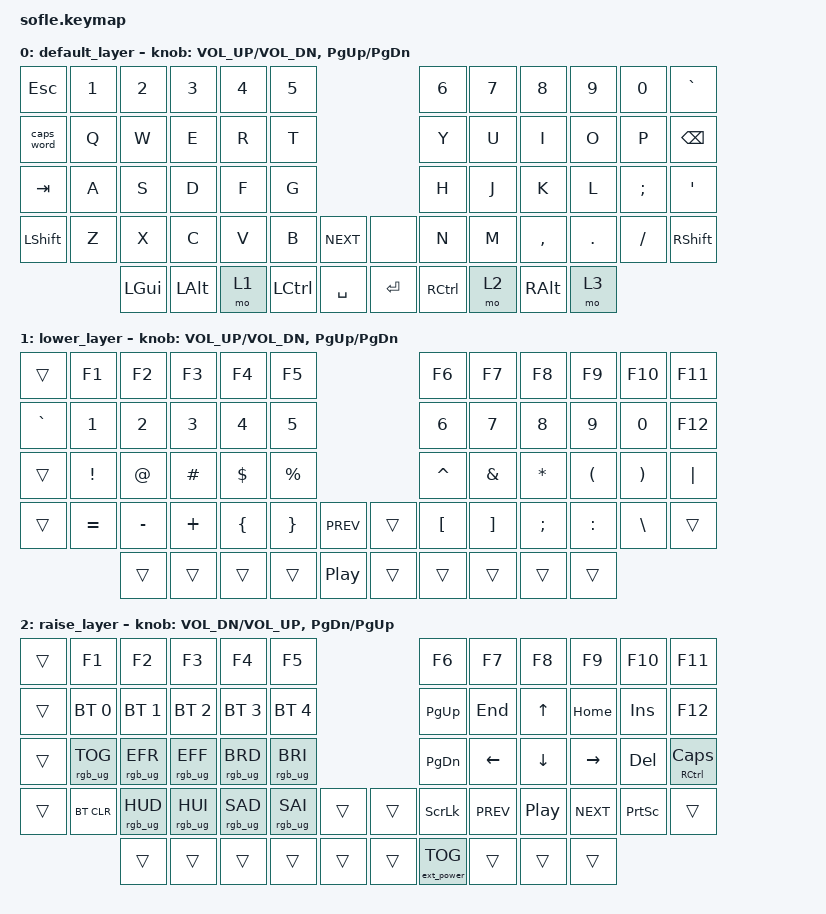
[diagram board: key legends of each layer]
/*
 * Copyright (c) 2020 The ZMK Contributors
 *
 * SPDX-License-Identifier: MIT
 */

#include <behaviors.dtsi>
#include <dt-bindings/zmk/keys.h>
#include <dt-bindings/zmk/bt.h>
#include <dt-bindings/zmk/ext_power.h>
#include <dt-bindings/zmk/rgb.h>

/ {
    keymap {
        compatible = "zmk,keymap";

        default_layer {
  // ------------------------------------------------------------------------------------------------------------
            // |   `   |  1  |  2  |  3   |  4   |  5   |                   |  6   |  7    |  8    |  9   |   0   |       |
            // |  ESC  |  Q  |  W  |  E   |  R   |  T   |                   |  Y   |  U    |  I    |  O   |   P   | BKSPC |
            // |  TAB  |  A  |  S  |  D   |  F   |  G   |                   |  H   |  J    |  K    |  L   |   ;   |   '   |
            // | SHIFT |  Z  |  X  |  C   |  V   |  B   |  MUTE  |  |       |  N   |  M    |  ,    |  .   |   /   | SHIFT |
            //               | GUI | ALT  | CTRL | LOWER|  ENTER |  | SPACE | RAISE| CTRL  | ALT   | GUI  |

            bindings = <
&kp ESCAPE  &kp N1  &kp N2    &kp N3    &kp N4  &kp N5                                     &kp N6             &kp N7  &kp N8     &kp N9   &kp N0    &kp GRAVE
&caps_word  &kp Q   &kp W     &kp E     &kp R   &kp T                                      &kp Y              &kp U   &kp I      &kp O    &kp P     &kp BSPC
&kp TAB     &kp A   &kp S     &kp D     &kp F   &kp G                                      &kp H              &kp J   &kp K      &kp L    &kp SEMI  &kp SQT
&kp LSHFT   &kp Z   &kp X     &kp C     &kp V   &kp B             &kp C_NEXT    &none      &kp N              &kp M   &kp COMMA  &kp DOT  &kp FSLH  &kp RSHFT
                    &kp LGUI  &kp LALT  &mo 1   &kp LEFT_CONTROL  &kp SPACE     &kp ENTER  &kp RIGHT_CONTROL  &mo 2   &kp RALT   &mo 3
            >;

            sensor-bindings = <&inc_dec_kp C_VOL_UP C_VOL_DN &inc_dec_kp PG_UP PG_DN>;
        };

        lower_layer {
  // ------------------------------------------------------------------------------------------------------------
            // |       |  F1 |  F2 |  F3  |  F4  |  F5  |                   |  F6  |  F7   |  F8   |  F9  |  F10  |  F11  |
            // |   `   |  1  |  2  |  3   |  4   |  5   |                   |  6   |  7    |  8    |  9   |   0   |  F12  |
            // |       |  !  |  @  |  #   |  $   |  %   |                   |  ^   |  &    |  *    |  (   |   )   |   |   |
            // |       |  =  |  -  |  +   |  {   |  }   |        |  |       |  [   |  ]    |  ;    |  :   |   \   |       |
            //               |     |      |      |      |        |  |       |      |       |       |      |

            bindings = <
&trans     &kp F1     &kp F2     &kp F3    &kp F4    &kp F5                                 &kp F6     &kp F7    &kp F8     &kp F9     &kp F10   &kp F11
&kp GRAVE  &kp N1     &kp N2     &kp N3    &kp N4    &kp N5                                 &kp N6     &kp N7    &kp N8     &kp N9     &kp N0    &kp F12
&trans     &kp EXCL   &kp AT     &kp HASH  &kp DLLR  &kp PRCNT                              &kp CARET  &kp AMPS  &kp ASTRK  &kp LPAR   &kp RPAR  &kp PIPE
&trans     &kp EQUAL  &kp MINUS  &kp PLUS  &kp LBRC  &kp RBRC   &kp K_PREV          &trans  &kp LBKT   &kp RBKT  &kp SEMI   &kp COLON  &kp BSLH  &trans
                      &trans     &trans    &trans    &trans     &kp C_PLAY_PAUSE    &trans  &trans     &trans    &trans     &trans
            >;

            sensor-bindings = <&inc_dec_kp C_VOL_UP C_VOL_DN &inc_dec_kp PG_UP PG_DN>;
        };

        raise_layer {
// ------------------------------------------------------------------------------------------------------------
// |     |  F1  |  F2  |  F3   |  F4   |  F5  |                |  F6  |  F7  |  F8   |  F9  |  F10  |  F11  |
// |     | BT1  | BT2  |  BT3  |  BT4  |  BT5 |                | PGUP |  END |   ^   | HOME |  INS  |  F12  |
// |     | RGBT | RGB- | RGB+  |  BR-  |  BR+ |                | PGDN |   <- |   v   | ->   |  DEL  | C/CAPS|
// |     |BTCLR | HUD  | HUI   |  SAD  |  SAI |      |  |      | SCRL | PRVS | PLAY  | NEXT |  PSCR |       |
//              |      |       |       |      |      |  |      |      |      |       |      |
            bindings = <
&trans &kp F1          &kp F2          &kp F3          &kp F4          &kp F5                         &kp F6             &kp F7     &kp F8   &kp F9     &kp F10   &kp F11
&trans &bt BT_SEL 0    &bt BT_SEL 1    &bt BT_SEL 2    &bt BT_SEL 3    &bt BT_SEL 4                   &kp PG_UP          &kp END    &kp UP   &kp HOME   &kp INS   &kp F12
&trans &rgb_ug RGB_TOG &rgb_ug RGB_EFR &rgb_ug RGB_EFF &rgb_ug RGB_BRD &rgb_ug RGB_BRI                &kp PG_DN          &kp LEFT   &kp DOWN &kp RIGHT  &kp DEL   &mt RCTRL CLCK
&trans &bt BT_CLR      &rgb_ug RGB_HUD &rgb_ug RGB_HUI &rgb_ug RGB_SAD &rgb_ug RGB_SAI &trans  &trans &kp SLCK           &kp C_PREV &kp C_PP &kp C_NEXT &kp PSCRN &trans
                       &trans          &trans          &trans          &trans          &trans  &trans &ext_power EP_TOG  &trans     &trans   &trans
            >;

            sensor-bindings = <&inc_dec_kp C_VOL_DN C_VOL_UP &inc_dec_kp PG_DN PG_UP>;
        };
    };
};
 
